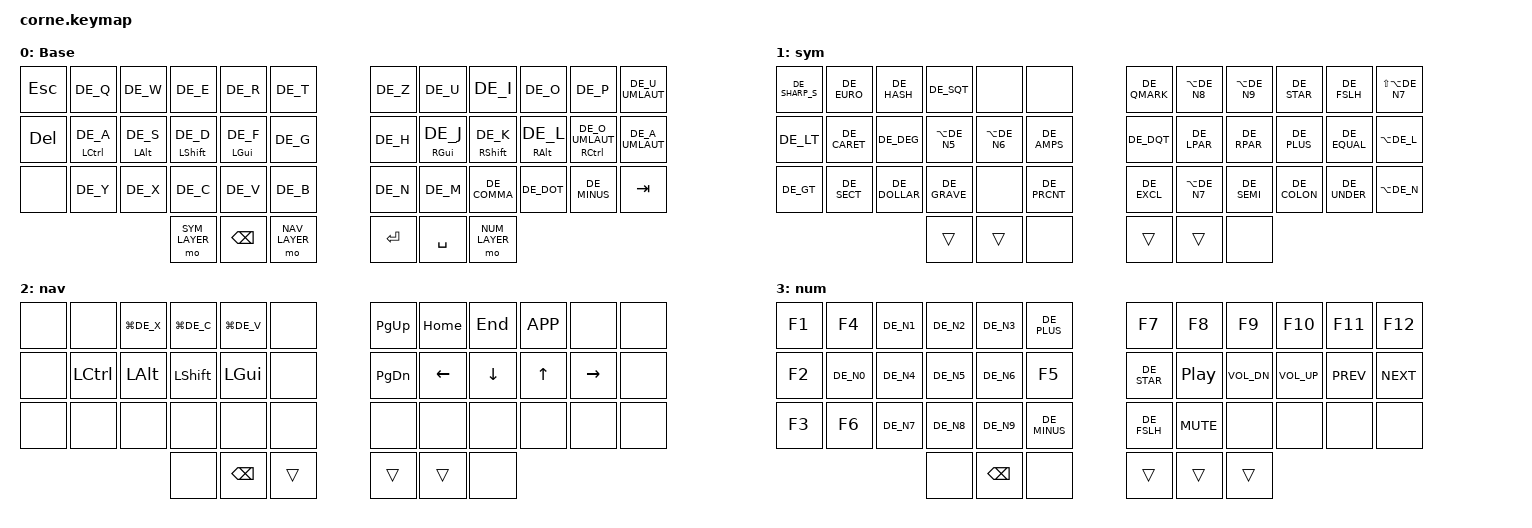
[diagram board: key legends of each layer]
/*
 * Copyright (c) 2020 The ZMK Contributors
 *
 * SPDX-License-Identifier: MIT
 */

#include <behaviors.dtsi>
#include <dt-bindings/zmk/keys.h>
#include <dt-bindings/zmk/bt.h>

#include <locale/keys_de.h>

#define BASE_LAYER 0
#define SYM_LAYER 1
#define NAV_LAYER 2
#define NUM_LAYER 3

#define DE_LT_FIX DE_CARET
#define DE_CARET_FIX DE_LT

#define DE_GT_FIX DE_DEG
#define DE_DEG_FIX DE_GT

/ {
        behaviors {
                hm: homerow_mods {
                compatible = "zmk,behavior-hold-tap";
                #binding-cells = <2>;
                tapping-term-ms = <160>;
                quick-tap-ms = <0>;
                flavor = "balanced";
                bindings = <&kp>, <&kp>;
                };
        };

        keymap {
                compatible = "zmk,keymap";

                default_layer {
                    display-name = "Base";
// -------------------------------------------------------------------------------
// | ESC  |  Q  |  W  |  E  |  R  |  T  |   |  Z  |  U   |  I  |  O  |  P  |  Ü  |
// | DEL  |  A  |  S  |  D  |  F  |  G  |   |  H  |  J   |  K  |  L  |  Ö  |  Ä  |
// |      |  Y  |  X  |  C  |  V  |  B  |   |  N  |  M   |  ,  |  .  |  -  | TAB |
//                    | SYM | BCK | NAV |   | ENT | SPC  | NUM |
                        bindings = <
   &kp ESC   &kp DE_Q         &kp DE_W        &kp DE_E          &kp DE_R        &kp DE_T             &kp DE_Z   &kp DE_U        &kp DE_I          &kp DE_O        &kp DE_P                &kp DE_U_UMLAUT
   &kp DEL   &hm LCTRL DE_A   &hm LALT DE_S   &hm LSHIFT DE_D   &hm LGUI DE_F   &kp DE_G             &kp DE_H   &hm RGUI DE_J   &hm RSHIFT DE_K   &hm RALT DE_L   &hm RCTRL DE_O_UMLAUT   &kp DE_A_UMLAUT
   &none     &kp DE_Y         &kp DE_X        &kp DE_C          &kp DE_V        &kp DE_B             &kp DE_N   &kp DE_M        &kp DE_COMMA      &kp DE_DOT      &kp DE_MINUS             &kp TAB
                                              &mo SYM_LAYER     &kp BSPC        &mo NAV_LAYER        &kp RET    &kp SPACE       &mo NUM_LAYER
                        >;
                };


                sym {
// -------------------------------------------------------------------------------
// |   ß  |  €  |  #  |  '  |     |     |   |  ?  |  {  |  }  |  *  |  /  |   \  |
// |   ^  |  <  |  >  |  [  |  ]  |  &  |   |  "  |  (  |  )  |  +  |  =  |   @  |
// |   °  |  §  |  $  |  `  |     |  %  |   |  !  | "|" |  ;  |  :  |  _  |   ~  |
//                    | SYM | BCK |     |   | ENT | SPC |     |
                        bindings = <
   &kp DE_SHARP_S     &kp DE_EURO     &kp DE_HASH     &kp DE_SQT      &none           &none               &kp DE_QMARK   &kp LA(DE_N8)   &kp LA(DE_N9)   &kp DE_STAR    &kp DE_FSLH    &kp LS(LA(DE_N7))
   &kp DE_CARET_FIX   &kp DE_LT_FIX   &kp DE_GT_FIX   &kp LA(DE_N5)   &kp LA(DE_N6)   &kp DE_AMPS         &kp DE_DQT     &kp DE_LPAR     &kp DE_RPAR     &kp DE_PLUS    &kp DE_EQUAL   &kp LA(DE_L)
   &kp DE_DEG_FIX     &kp DE_SECT     &kp DE_DOLLAR   &kp DE_GRAVE    &none           &kp DE_PRCNT        &kp DE_EXCL    &kp LA(DE_N7)   &kp DE_SEMI     &kp DE_COLON   &kp DE_UNDER   &kp LA(DE_N)
                                                      &trans          &trans          &none               &trans         &trans          &none
                        >;
                };

                nav {
// ------------------------------------------------------------------------------
// |      |     | CUT |COPY |PASTE|     |   |PG UP| HOME| END | APP |     |     |
// |      |LCTRL| ALT |SHIFT| GUI |     |   |PG DW|  <- |  v  | / \ | ->  |     |
// |      |     |     |     |     |     |   |     |     |     |     |     |     |
//                    |     | BCK | NAV |   | ENT | SPC |     |
                        bindings = <
   &none   &none       &kp LG(DE_X)   &kp LG(DE_C)   &kp LG(DE_V)   &none         &kp PG_UP   &kp HOME   &kp END    &kp K_APP   &none       &none
   &none   &kp LCTRL   &kp LALT       &kp LSHIFT     &kp LGUI       &none         &kp PG_DN   &kp LEFT   &kp DOWN   &kp UP      &kp RIGHT   &none
   &none   &none       &none          &none          &none          &none         &none       &none      &none      &none       &none       &none
                                      &none          &kp BSPC       &trans        &trans      &trans     &none
                        >;
                };


                num {
// ------------------------------------------------------------------------------
// |  F1  |  F4 |  1  |  2  |  3  |  +  |   |  F7 |  F8 |  F9 | F10 | F11 | F12 |
// |  F2  |  0  |  4  |  5  |  6  |  F5 |   |  *  |PLAY |Vol D|Vol U|PrevS|NextS|
// |  F3  |  F6 |  7  |  8  |  9  |  -  |   |  /  |MUTE |     |     |     |     |
//                    |     | BCK |     |   | ENT | SPC | NUM |
                        bindings = <
   &kp F1   &kp F4      &kp DE_N1   &kp DE_N2   &kp DE_N3   &kp DE_PLUS         &kp F7        &kp F8             &kp F9         &kp F10        &kp F11      &kp F12
   &kp F2   &kp DE_N0   &kp DE_N4   &kp DE_N5   &kp DE_N6   &kp F5              &kp DE_STAR   &kp C_PLAY_PAUSE   &kp C_VOL_DN   &kp C_VOL_UP   &kp C_PREV   &kp C_NEXT
   &kp F3   &kp F6      &kp DE_N7   &kp DE_N8   &kp DE_N9   &kp DE_MINUS        &kp DE_FSLH   &kp C_MUTE         &none          &none          &none        &none
                                    &none       &kp BSPC    &none               &trans        &trans             &trans
                        >;
                };
        };
};
